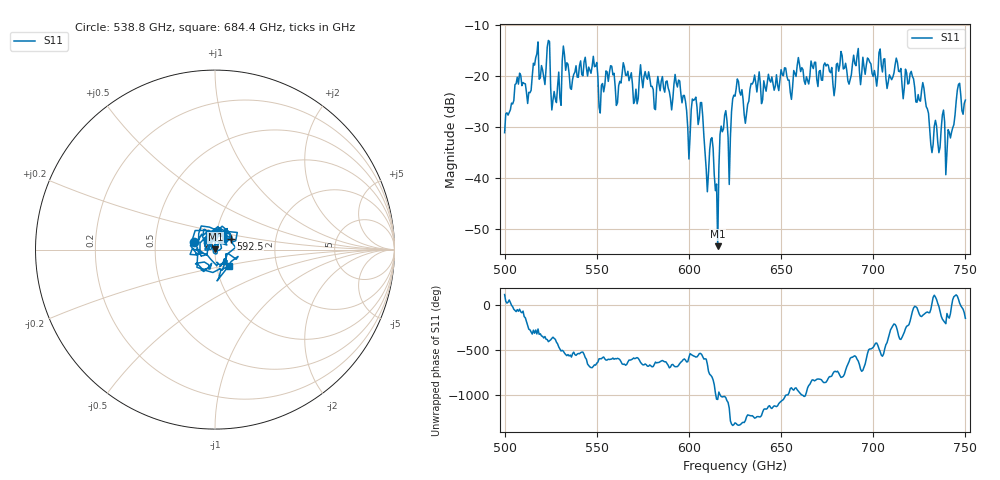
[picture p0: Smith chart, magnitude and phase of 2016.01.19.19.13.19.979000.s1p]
!Created with skrf (http://scikit-rf.org).
# GHz S RI R 50.0
!freq ReS11 ImS11
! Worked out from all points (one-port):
!   401 points, 500 GHz to 750 GHz, reference 50 ohm
!   lowest |S11| = -53.3 dB at 615.6 GHz (marker M1), VSWR 1.00, Z = 50.2 + j0.0991 ohm
!   |S11| at or under -10 dB: start of sweep to end of sweep
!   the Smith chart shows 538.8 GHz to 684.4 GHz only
!   S11 on the Smith chart (normalised r, x): 538.8 GHz: 0.78, +0.07; 592.5 GHz: 1.18, +0.14; 684.4 GHz: 1.14, -0.21
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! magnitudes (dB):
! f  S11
! 500 GHz  -31.1
! 507.5 GHz  -21.6
! 513.1 GHz  -23.2
! 516.9 GHz  -16.4
! 523.8 GHz  -13.0
! 526.9 GHz  -23.0
! 531.2 GHz  -17.1
! 538.8 GHz  -18.0
! 562.5 GHz  -21.0
! 592.5 GHz  -19.7
! 593.8 GHz  -22.1
! 600 GHz  -36.2
! 606.9 GHz  -25.2
! 609.4 GHz  -38.2
! 612.5 GHz  -32.0
! 615.6 GHz  -53.3
! 618.1 GHz  -30.9
! 621.9 GHz  -41.2
! 625 GHz  -23.9
! 656.2 GHz  -22.1
! 684.4 GHz  -18.4
! 687.5 GHz  -20.7
! 718.8 GHz  -21.5
! 727.5 GHz  -22.3
! 731.9 GHz  -35.0
! 740.6 GHz  -30.5
! 746.2 GHz  -21.6
! 750 GHz  -24.7
